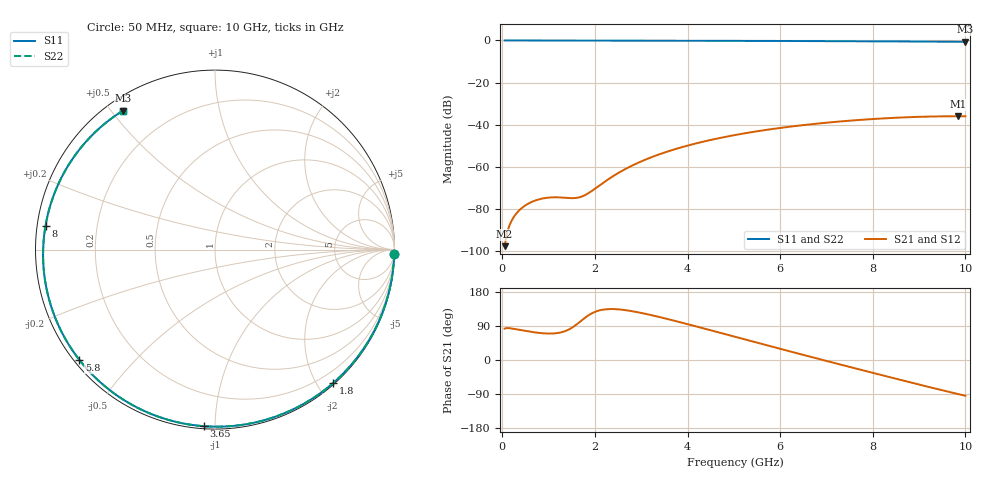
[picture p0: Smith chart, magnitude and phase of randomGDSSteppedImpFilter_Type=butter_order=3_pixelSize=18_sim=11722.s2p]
! freq	dB(S11)	phase(S11)	dB(S12)	phase(S12)
!  dB(S21)	phase(S21)	dB(S22)	phase(S22)
!S-par simulation data
#  GHz  S  DB  R 50
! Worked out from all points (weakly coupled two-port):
!   200 points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, 50 MHz to 10 GHz, reference 50 ohm
!   highest |S21| = -36.05 dB at 9.85 GHz (marker M1); lowest = -97.8 dB at 50 MHz (marker M2)
!   lowest |S11| = -0.6 dB at 10 GHz (marker M3), VSWR 27.02, Z = 2.38 + j26.8 ohm
!   |S11| at or under -10 dB: nowhere
!   |S22| runs from -0.6 to 0.0 dB; largest |S21 - S12| = 0
!   S11 on the Smith chart (normalised r, x): 50 MHz: 2, -86; 1.8 GHz: 0.02, -2.23; 3.65 GHz: 0.01, -0.94; 5.8 GHz: 0.01, -0.36; 8 GHz: 0.02, +0.07; 10 GHz: 0.05, +0.54
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0.05  -0.00 -1.3  -97.84 82.8  -97.84 82.8  -0.00 -1.3
0.4  -0.02 -11.0  -80.11 78.9  -80.11 78.9  -0.02 -11.0
0.65  -0.02 -17.8  -76.66 73.8  -76.66 73.8  -0.02 -17.8
0.9  -0.03 -24.6  -75.04 70.3  -75.04 70.3  -0.03 -24.6
1.15  -0.04 -31.3  -74.60 70.5  -74.60 70.5  -0.04 -31.3
1.55  -0.05 -41.9  -74.99 89.0  -74.99 89.0  -0.05 -41.9
1.75  -0.06 -47.1  -73.94 108.1  -73.94 108.1  -0.06 -47.1
1.8  -0.06 -48.4  -73.40 112.8  -73.40 112.8  -0.06 -48.4
2.6  -0.09 -68.6  -61.84 132.5  -61.84 132.5  -0.09 -68.6
3  -0.10 -78.3  -57.53 124.2  -57.53 124.2  -0.10 -78.3
3.4  -0.11 -87.8  -54.09 113.2  -54.09 113.2  -0.11 -87.8
3.65  -0.12 -93.7  -52.26 105.7  -52.26 105.7  -0.12 -93.7
4.35  -0.15 -109.5  -48.08 83.4  -48.08 83.4  -0.15 -109.5
5.05  -0.19 -124.8  -44.88 60.5  -44.88 60.5  -0.19 -124.8
5.8  -0.23 -140.8  -42.22 36.0  -42.22 36.0  -0.23 -140.8
6.7  -0.29 -159.9  -39.78 7.0  -39.78 7.0  -0.29 -159.9
7.35  -0.35 -173.8  -38.43 -13.5  -38.43 -13.5  -0.35 -173.8
8  -0.41 172.0  -37.37 -33.9  -37.37 -33.9  -0.41 172.0
8.35  -0.45 164.0  -36.92 -44.8  -36.92 -44.8  -0.45 164.1
9.1  -0.53 146.4  -36.27 -67.8  -36.27 -67.8  -0.53 146.4
9.85  -0.62 127.5  -36.05 -90.1  -36.05 -90.1  -0.62 127.5
10  -0.64 123.5  -36.06 -94.4  -36.06 -94.4  -0.64 123.5
